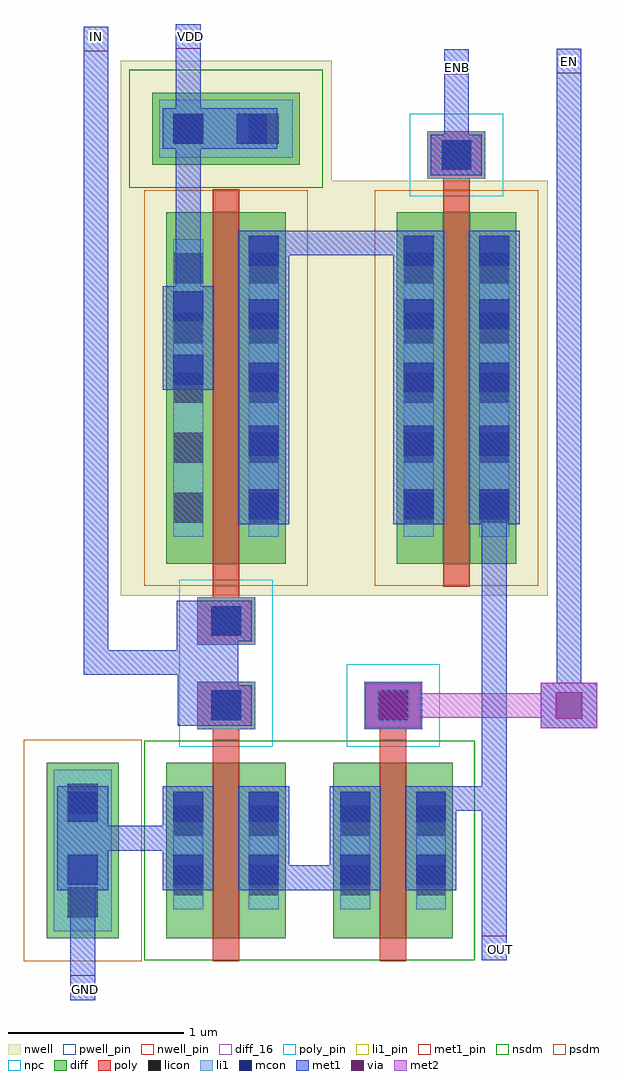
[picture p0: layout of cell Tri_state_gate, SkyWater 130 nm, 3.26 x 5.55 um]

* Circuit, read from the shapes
.subckt Tri_state_gate EN ENB GND IN OUT VDD
XM1 nmos_CDNS_714477013433_3/d IN GND nmos_CDNS_714477013431_1/b sky130_fd_pr__nfet_01v8 w=1 l=0.15
XM2 OUT EN nmos_CDNS_714477013433_3/d nmos_CDNS_714477013431_1/b sky130_fd_pr__nfet_01v8 w=1 l=0.15
XM3 pmos_CDNS_714477013430_0/d IN VDD pmos_CDNS_714477013432_2/b sky130_fd_pr__pfet_01v8 w=2 l=0.15
XM4 OUT ENB pmos_CDNS_714477013430_0/d pmos_CDNS_714477013432_2/b sky130_fd_pr__pfet_01v8 w=2 l=0.15
.ends

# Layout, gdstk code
import gdstk
lib = gdstk.Library(unit=1e-6, precision=1e-09)
def R(c, l, rs):  # rectangles x0, y0, x1, y1
    for r in rs: c.add(gdstk.rectangle(r[:2], r[2:], *l))
def A(c, l, x, y, w, h, nx, ny, dx, dy):  # array of equal rectangles
    R(c, l, [(x+i*dx, y+j*dy, x+i*dx+w, y+j*dy+h) for i in range(nx) for j in range(ny)])
nwell_pin = (64, 16)
nwell = (64, 20)
diff_16 = (65, 16)
diff = (65, 20)
poly_pin = (66, 16)
poly = (66, 20)
licon = (66, 44)
li1_pin = (67, 16)
li1 = (67, 20)
mcon = (67, 44)
met1_pin = (68, 16)
met1 = (68, 20)
via = (68, 44)
met2 = (69, 20)
nsdm = (93, 44)
psdm = (94, 20)
npc = (95, 20)
pwell_pin = (122, 16)

pmos_cdns_714477013430 = lib.new_cell('pmos_CDNS_714477013430')
R(pmos_cdns_714477013430, nwell, [(-0.525,-0.18,0.675,2.86)])
R(pmos_cdns_714477013430, diff_16, [(-0.265,0,0,2), (0.15,0,0.415,2)])
R(pmos_cdns_714477013430, diff, [(-0.265,0,0.415,2)])
R(pmos_cdns_714477013430, poly_pin, [(0,-0.13,0.15,0), (0,2,0.15,2.13)])
R(pmos_cdns_714477013430, poly, [(0,-0.13,0.15,2.13)])
A(pmos_cdns_714477013430, licon, -0.225, 0.235, 0.17, 0.17, 1, 5, 0, 0.34)
A(pmos_cdns_714477013430, licon, 0.205, 0.235, 0.17, 0.17, 1, 5, 0, 0.34)
R(pmos_cdns_714477013430, licon, [(-0.225,2.39,-0.055,2.56), (0.205,2.39,0.375,2.56)])
R(pmos_cdns_714477013430, li1_pin, [(-0.305,2.31,0.455,2.64)])
R(pmos_cdns_714477013430, psdm, [(-0.39,-0.125,0.54,2.125)])
pmos_cdns_714477013430.add(gdstk.FlexPath([(-0.345,2.475),(0.495,2.475)], 0.41, ends="flush", simple_path=True, layer=65, datatype=20))  # diff
pmos_cdns_714477013430.add(gdstk.FlexPath([(0.29,0.155),(0.29,1.845)], 0.17, ends="flush", simple_path=True, layer=67, datatype=20))  # li1
pmos_cdns_714477013430.add(gdstk.FlexPath([(-0.14,0.155),(-0.14,1.845)], 0.17, ends="flush", simple_path=True, layer=67, datatype=20))  # li1
pmos_cdns_714477013430.add(gdstk.FlexPath([(-0.305,2.475),(0.455,2.475)], 0.33, ends="flush", simple_path=True, layer=67, datatype=20))  # li1
pmos_cdns_714477013430.add(gdstk.FlexPath([(-0.475,2.475),(0.625,2.475)], 0.67, ends="flush", simple_path=True, layer=93, datatype=44))  # nsdm
pmos_cdns_714477013430.add(gdstk.Label('d', (0.282,1), layer=65, texttype=6))
pmos_cdns_714477013430.add(gdstk.Label('s', (-0.133,1), layer=65, texttype=6))
pmos_cdns_714477013430.add(gdstk.Label('g', (0.075,-0.065), layer=66, texttype=5))
pmos_cdns_714477013430.add(gdstk.Label('g', (0.075,2.065), layer=66, texttype=5))
pmos_cdns_714477013430.add(gdstk.Label('b', (0.075,2.475), layer=67, texttype=5))

nmos_cdns_714477013431 = lib.new_cell('nmos_CDNS_714477013431')
R(nmos_cdns_714477013431, diff_16, [(-0.265,0,0,1), (0.15,0,0.415,1)])
R(nmos_cdns_714477013431, diff, [(-0.265,0,0.415,1)])
R(nmos_cdns_714477013431, poly_pin, [(0,-0.13,0.15,0), (0,1,0.15,1.13)])
R(nmos_cdns_714477013431, poly, [(0,-0.13,0.15,1.13)])
R(nmos_cdns_714477013431, licon, [(-0.225,0.245,-0.055,0.415), (0.205,0.245,0.375,0.415), (-0.225,0.585,-0.055,0.755), (0.205,0.585,0.375,0.755)])
R(nmos_cdns_714477013431, nsdm, [(-0.39,-0.125,0.54,1.125)])
R(nmos_cdns_714477013431, pwell_pin, [(-0.265,0,0.415,1)])
nmos_cdns_714477013431.add(gdstk.FlexPath([(0.29,0.165),(0.29,0.835)], 0.17, ends="flush", simple_path=True, layer=67, datatype=20))  # li1
nmos_cdns_714477013431.add(gdstk.FlexPath([(-0.14,0.165),(-0.14,0.835)], 0.17, ends="flush", simple_path=True, layer=67, datatype=20))  # li1
nmos_cdns_714477013431.add(gdstk.Label('d', (0.282,0.5), layer=65, texttype=6))
nmos_cdns_714477013431.add(gdstk.Label('s', (-0.133,0.5), layer=65, texttype=6))
nmos_cdns_714477013431.add(gdstk.Label('g', (0.075,-0.065), layer=66, texttype=5))
nmos_cdns_714477013431.add(gdstk.Label('g', (0.075,1.065), layer=66, texttype=5))
nmos_cdns_714477013431.add(gdstk.Label('b', (0.075,0.5), layer=64, texttype=59))

pmos_cdns_714477013432 = lib.new_cell('pmos_CDNS_714477013432')
R(pmos_cdns_714477013432, nwell_pin, [(-0.265,0,0.415,2)])
R(pmos_cdns_714477013432, nwell, [(-0.445,-0.18,0.595,2.18)])
R(pmos_cdns_714477013432, diff_16, [(-0.265,0,0,2), (0.15,0,0.415,2)])
R(pmos_cdns_714477013432, diff, [(-0.265,0,0.415,2)])
R(pmos_cdns_714477013432, poly_pin, [(0,-0.13,0.15,0), (0,2,0.15,2.13)])
R(pmos_cdns_714477013432, poly, [(0,-0.13,0.15,2.13)])
A(pmos_cdns_714477013432, licon, -0.225, 0.235, 0.17, 0.17, 1, 5, 0, 0.34)
A(pmos_cdns_714477013432, licon, 0.205, 0.235, 0.17, 0.17, 1, 5, 0, 0.34)
R(pmos_cdns_714477013432, psdm, [(-0.39,-0.125,0.54,2.125)])
pmos_cdns_714477013432.add(gdstk.FlexPath([(0.29,0.155),(0.29,1.845)], 0.17, ends="flush", simple_path=True, layer=67, datatype=20))  # li1
pmos_cdns_714477013432.add(gdstk.FlexPath([(-0.14,0.155),(-0.14,1.845)], 0.17, ends="flush", simple_path=True, layer=67, datatype=20))  # li1
pmos_cdns_714477013432.add(gdstk.Label('d', (0.282,1), layer=65, texttype=6))
pmos_cdns_714477013432.add(gdstk.Label('s', (-0.133,1), layer=65, texttype=6))
pmos_cdns_714477013432.add(gdstk.Label('g', (0.075,-0.065), layer=66, texttype=5))
pmos_cdns_714477013432.add(gdstk.Label('g', (0.075,2.065), layer=66, texttype=5))
pmos_cdns_714477013432.add(gdstk.Label('b', (0.075,1), layer=64, texttype=5))

nmos_cdns_714477013433 = lib.new_cell('nmos_CDNS_714477013433')
R(nmos_cdns_714477013433, diff_16, [(-0.265,0,0,1), (0.15,0,0.415,1)])
R(nmos_cdns_714477013433, diff, [(-0.265,0,0.415,1)])
R(nmos_cdns_714477013433, poly_pin, [(0,-0.13,0.15,0), (0,1,0.15,1.13)])
R(nmos_cdns_714477013433, poly, [(0,-0.13,0.15,1.13)])
R(nmos_cdns_714477013433, licon, [(-0.825,0.12,-0.655,0.29), (-0.225,0.245,-0.055,0.415), (0.205,0.245,0.375,0.415), (-0.225,0.585,-0.055,0.755), (0.205,0.585,0.375,0.755), (-0.825,0.71,-0.655,0.88)])
R(nmos_cdns_714477013433, li1_pin, [(-0.905,0.04,-0.575,0.96)])
R(nmos_cdns_714477013433, nsdm, [(-0.39,-0.125,0.54,1.125)])
nmos_cdns_714477013433.add(gdstk.FlexPath([(-0.74,0),(-0.74,1)], 0.41, ends="flush", simple_path=True, layer=65, datatype=20))  # diff
nmos_cdns_714477013433.add(gdstk.FlexPath([(0.29,0.165),(0.29,0.835)], 0.17, ends="flush", simple_path=True, layer=67, datatype=20))  # li1
nmos_cdns_714477013433.add(gdstk.FlexPath([(-0.14,0.165),(-0.14,0.835)], 0.17, ends="flush", simple_path=True, layer=67, datatype=20))  # li1
nmos_cdns_714477013433.add(gdstk.FlexPath([(-0.74,0.04),(-0.74,0.96)], 0.33, ends="flush", simple_path=True, layer=67, datatype=20))  # li1
nmos_cdns_714477013433.add(gdstk.FlexPath([(-0.74,-0.13),(-0.74,1.13)], 0.67, ends="flush", simple_path=True, layer=94, datatype=20))  # psdm
nmos_cdns_714477013433.add(gdstk.Label('d', (0.282,0.5), layer=65, texttype=6))
nmos_cdns_714477013433.add(gdstk.Label('s', (-0.133,0.5), layer=65, texttype=6))
nmos_cdns_714477013433.add(gdstk.Label('g', (0.075,-0.065), layer=66, texttype=5))
nmos_cdns_714477013433.add(gdstk.Label('g', (0.075,1.065), layer=66, texttype=5))
nmos_cdns_714477013433.add(gdstk.Label('b', (-0.74,0.5), layer=67, texttype=5))

pyl1_cdns_714477013430 = lib.new_cell('PYL1_CDNS_714477013430')
R(pyl1_cdns_714477013430, poly, [(-0.165,-0.135,0.165,0.135)])
R(pyl1_cdns_714477013430, licon, [(-0.085,-0.085,0.085,0.085)])
R(pyl1_cdns_714477013430, li1, [(-0.165,-0.135,0.165,0.135)])
R(pyl1_cdns_714477013430, npc, [(-0.265,-0.235,0.265,0.235)])

l1m1_cdns_714477013431 = lib.new_cell('L1M1_CDNS_714477013431')
R(l1m1_cdns_714477013431, li1, [(-0.085,-0.085,0.085,0.085)])
R(l1m1_cdns_714477013431, mcon, [(-0.085,-0.085,0.085,0.085)])
R(l1m1_cdns_714477013431, met1, [(-0.145,-0.115,0.145,0.115)])

l1m1_cdns_714477013432 = lib.new_cell('L1M1_CDNS_714477013432')
R(l1m1_cdns_714477013432, li1, [(-0.265,-0.085,0.265,0.085)])
R(l1m1_cdns_714477013432, mcon, [(-0.265,-0.085,-0.095,0.085), (0.095,-0.085,0.265,0.085)])
R(l1m1_cdns_714477013432, met1, [(-0.325,-0.115,0.325,0.115)])

l1m1_cdns_714477013433 = lib.new_cell('L1M1_CDNS_714477013433')
R(l1m1_cdns_714477013433, li1, [(-0.085,-0.265,0.085,0.265)])
R(l1m1_cdns_714477013433, mcon, [(-0.085,-0.265,0.085,-0.095), (-0.085,0.095,0.085,0.265)])
R(l1m1_cdns_714477013433, met1, [(-0.145,-0.295,0.145,0.295)])

l1m1_cdns_714477013434 = lib.new_cell('L1M1_CDNS_714477013434')
R(l1m1_cdns_714477013434, li1, [(-0.085,-0.805,0.085,0.805)])
A(l1m1_cdns_714477013434, mcon, -0.085, -0.805, 0.17, 0.17, 1, 5, 0, 0.36)
R(l1m1_cdns_714477013434, met1, [(-0.145,-0.835,0.145,0.835)])

m1m2_cdns_714477013435 = lib.new_cell('M1M2_CDNS_714477013435')
R(m1m2_cdns_714477013435, met1, [(-0.16,-0.13,0.16,0.13)])
R(m1m2_cdns_714477013435, via, [(-0.075,-0.075,0.075,0.075)])
R(m1m2_cdns_714477013435, met2, [(-0.16,-0.13,0.16,0.13)])

tri_state_gate = lib.new_cell('Tri_state_gate')
R(tri_state_gate, nwell, [(2.725,4.675,2.915,7.035)])
R(tri_state_gate, met1_pin, [(1.24,2.375,1.38,2.515), (3.58,2.6,3.72,2.74), (3.365,7.64,3.505,7.78), (4.005,7.645,4.145,7.785), (1.315,7.77,1.455,7.91), (1.84,7.785,1.98,7.925)])
R(tri_state_gate, met1, [(1.85,3.935,2.055,4.225), (1.845,4.365,2.06,4.645)])
R(tri_state_gate, nsdm, [(2.575,2.6,2.67,3.85)])
R(tri_state_gate, npc, [(1.86,4.22,2.39,4.315)])
tri_state_gate.add(gdstk.FlexPath([(3.075,3.855),(3.075,4.05)], 0.15, ends="flush", simple_path=True, layer=66, datatype=20))  # poly
tri_state_gate.add(gdstk.FlexPath([(3.435,7.18),(3.435,6.985)], 0.15, ends="flush", simple_path=True, layer=66, datatype=20))  # poly
tri_state_gate.add(gdstk.FlexPath([(2.125,3.855),(2.125,4.05)], 0.15, ends="flush", simple_path=True, layer=66, datatype=20))  # poly
tri_state_gate.add(gdstk.FlexPath([(2.125,4.53),(2.125,4.725)], 0.15, ends="flush", simple_path=True, layer=66, datatype=20))  # poly
tri_state_gate.add(gdstk.FlexPath([(1.31,3.295),(1.31,2.375)], 0.14, ends=(0.07, 0), simple_path=True, layer=68, datatype=20))  # met1
tri_state_gate.add(gdstk.FlexPath([(1.91,7.33),(1.91,7.925)], 0.14, ends=(0.115, 0), simple_path=True, layer=68, datatype=20))  # met1
tri_state_gate.add(gdstk.FlexPath([(2.09,7.33),(1.91,7.33)], 0.23, ends=(0, 0.07), simple_path=True, layer=68, datatype=20))  # met1
tri_state_gate.add(gdstk.FlexPath([(3.65,3.52),(3.65,5.915)], 0.14, ends=(0.07, 0), simple_path=True, layer=68, datatype=20))  # met1
tri_state_gate.add(gdstk.FlexPath([(3.65,3.52),(3.29,3.52)], 0.14, ends=(0.07, 0.145), simple_path=True, layer=68, datatype=20))  # met1
tri_state_gate.add(gdstk.FlexPath([(3.29,3.52),(3.29,3.295)], 0.29, ends=(0.07, 0), simple_path=True, layer=68, datatype=20))  # met1
tri_state_gate.add(gdstk.FlexPath([(1.385,4.295),(1.385,7.91)], 0.14, ends=(0.07, 0), simple_path=True, layer=68, datatype=20))  # met1
tri_state_gate.add(gdstk.FlexPath([(3.435,7.78),(3.435,7.18)], 0.14, ends="flush", simple_path=True, layer=68, datatype=20))  # met1
tri_state_gate.add(gdstk.FlexPath([(4.075,4.05),(4.075,7.785)], 0.14, ends="flush", simple_path=True, layer=68, datatype=20))  # met1
tri_state_gate.add(gdstk.FlexPath([(3.65,3.52),(3.65,2.6)], 0.14, ends=(0.07, 0), simple_path=True, layer=68, datatype=20))  # met1
tri_state_gate.add(gdstk.FlexPath([(1.31,3.295),(1.91,3.295)], 0.14, ends=(0.07, 0), simple_path=True, layer=68, datatype=20))  # met1
tri_state_gate.add(gdstk.FlexPath([(2.125,4.295),(1.385,4.295)], 0.14, ends="extended", simple_path=True, layer=68, datatype=20))  # met1
tri_state_gate.add(gdstk.FlexPath([(2.125,4.05),(2.125,4.295)], 0.14, ends=(0, 0.07), simple_path=True, layer=68, datatype=20))  # met1
tri_state_gate.add(gdstk.FlexPath([(2.09,7.33),(1.91,7.33)], 0.14, ends=(0, 0.07), simple_path=True, layer=68, datatype=20))  # met1
tri_state_gate.add(gdstk.FlexPath([(1.91,7.33),(1.91,6.255)], 0.14, ends=(0.07, 0), simple_path=True, layer=68, datatype=20))  # met1
tri_state_gate.add(gdstk.FlexPath([(2.125,4.295),(2.125,4.53)], 0.14, ends=(0.07, 0), simple_path=True, layer=68, datatype=20))  # met1
tri_state_gate.add(gdstk.FlexPath([(2.86,3.295),(2.86,3.07)], 0.14, ends=(0, 0.07), simple_path=True, layer=68, datatype=20))  # met1
tri_state_gate.add(gdstk.FlexPath([(2.34,3.07),(2.34,3.295)], 0.29, ends=(0.07, 0), simple_path=True, layer=68, datatype=20))  # met1
tri_state_gate.add(gdstk.FlexPath([(2.86,3.07),(2.34,3.07)], 0.14, ends=(0.07, 0.145), simple_path=True, layer=68, datatype=20))  # met1
tri_state_gate.add(gdstk.FlexPath([(3.22,5.915),(3.22,6.68)], 0.14, ends=(0, 0.07), simple_path=True, layer=68, datatype=20))  # met1
tri_state_gate.add(gdstk.FlexPath([(3.22,6.68),(2.34,6.68)], 0.14, ends=(0.07, 0.145), simple_path=True, layer=68, datatype=20))  # met1
tri_state_gate.add(gdstk.FlexPath([(2.34,6.68),(2.34,5.915)], 0.29, ends=(0.07, 0), simple_path=True, layer=68, datatype=20))  # met1
tri_state_gate.add(gdstk.FlexPath([(4.04,4.05),(4.04,4.005)], 0.14, ends=(0.07, 0), simple_path=True, layer=69, datatype=20))  # met2
tri_state_gate.add(gdstk.FlexPath([(3.075,4.05),(4.04,4.05)], 0.14, ends=(0, 0.07), simple_path=True, layer=69, datatype=20))  # met2
tri_state_gate.add(gdstk.Reference(pmos_cdns_714477013430, (2.05,4.855)))
tri_state_gate.add(gdstk.Reference(nmos_cdns_714477013431, (3,2.725)))
tri_state_gate.add(gdstk.Reference(pmos_cdns_714477013432, (3.36,4.855)))
tri_state_gate.add(gdstk.Reference(nmos_cdns_714477013433, (2.05,2.725)))
tri_state_gate.add(gdstk.Reference(pyl1_cdns_714477013430, (3.435,7.18)))
tri_state_gate.add(gdstk.Reference(pyl1_cdns_714477013430, (3.075,4.05)))
tri_state_gate.add(gdstk.Reference(pyl1_cdns_714477013430, (2.125,4.05)))
tri_state_gate.add(gdstk.Reference(pyl1_cdns_714477013430, (2.125,4.53)))
tri_state_gate.add(gdstk.Reference(l1m1_cdns_714477013431, (3.435,7.18)))
tri_state_gate.add(gdstk.Reference(l1m1_cdns_714477013431, (3.075,4.05)))
tri_state_gate.add(gdstk.Reference(l1m1_cdns_714477013431, (2.125,4.05)))
tri_state_gate.add(gdstk.Reference(l1m1_cdns_714477013431, (2.125,4.53)))
tri_state_gate.add(gdstk.Reference(l1m1_cdns_714477013432, (2.09,7.33)))
tri_state_gate.add(gdstk.Reference(l1m1_cdns_714477013433, (3.29,3.295)))
tri_state_gate.add(gdstk.Reference(l1m1_cdns_714477013433, (2.86,3.295)))
tri_state_gate.add(gdstk.Reference(l1m1_cdns_714477013433, (2.34,3.295)))
tri_state_gate.add(gdstk.Reference(l1m1_cdns_714477013433, (1.31,3.295)))
tri_state_gate.add(gdstk.Reference(l1m1_cdns_714477013433, (1.91,3.295)))
tri_state_gate.add(gdstk.Reference(l1m1_cdns_714477013433, (1.91,6.14)))
tri_state_gate.add(gdstk.Reference(l1m1_cdns_714477013434, (3.65,5.915)))
tri_state_gate.add(gdstk.Reference(l1m1_cdns_714477013434, (3.22,5.915)))
tri_state_gate.add(gdstk.Reference(l1m1_cdns_714477013434, (2.34,5.915)))
tri_state_gate.add(gdstk.Reference(m1m2_cdns_714477013435, (4.075,4.05)))
tri_state_gate.add(gdstk.Reference(m1m2_cdns_714477013435, (3.075,4.05)))
tri_state_gate.add(gdstk.Label('GND', (1.325,2.435), layer=68, texttype=5))
tri_state_gate.add(gdstk.Label('IN', (1.39,7.855), layer=68, texttype=5))
tri_state_gate.add(gdstk.Label('OUT', (3.685,2.66), layer=68, texttype=5))
tri_state_gate.add(gdstk.Label('ENB', (3.44,7.68), layer=68, texttype=5))
tri_state_gate.add(gdstk.Label('EN', (4.08,7.71), layer=68, texttype=5))
tri_state_gate.add(gdstk.Label('VDD', (1.92,7.855), layer=68, texttype=5))

lib.write_gds('Tri_state_gate.gds')
